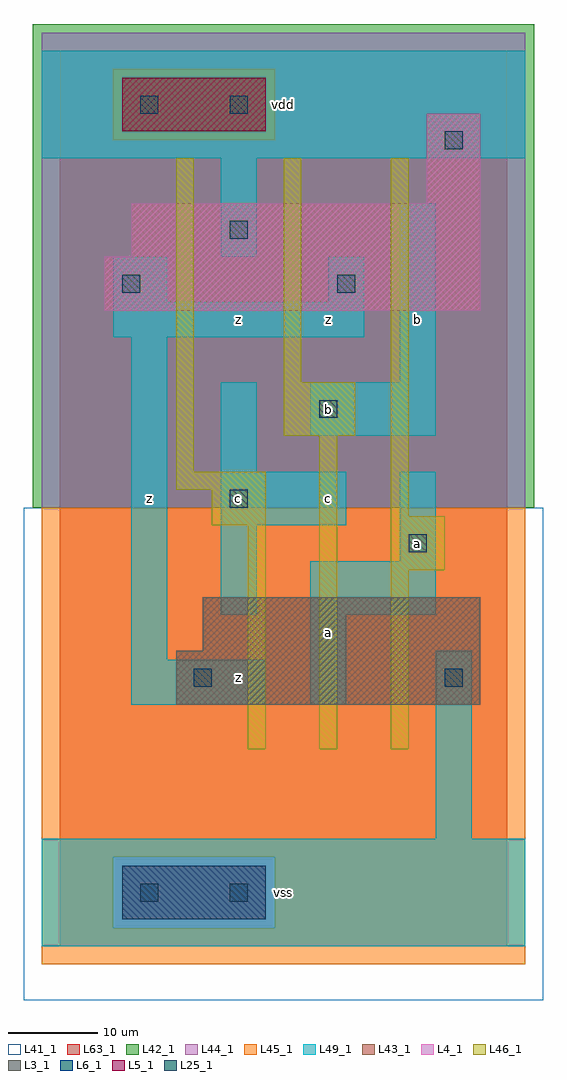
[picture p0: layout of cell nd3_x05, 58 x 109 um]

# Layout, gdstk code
import gdstk
lib = gdstk.Library(unit=1e-6, precision=1e-09)
def R(c, l, rs):  # rectangles x0, y0, x1, y1
    for r in rs: c.add(gdstk.rectangle(r[:2], r[2:], *l))
L3_1 = (3, 1)
L4_1 = (4, 1)
L5_1 = (5, 1)
L6_1 = (6, 1)
L25_1 = (25, 1)
L41_1 = (41, 1)
L42_1 = (42, 1)
L43_1 = (43, 1)
L44_1 = (44, 1)
L45_1 = (45, 1)
L46_1 = (46, 1)
L49_1 = (49, 1)
L63_1 = (63, 1)

nd3_x05 = lib.new_cell('nd3_x05')
R(nd3_x05, L3_1, [(13,27,47,33), (16,33,47,39)])
R(nd3_x05, L4_1, [(5,71,47,77), (8,77,47,83), (41,83,47,93)])
R(nd3_x05, L5_1, [(7,91,23,97)])
R(nd3_x05, L6_1, [(7,3,23,9)])
R(nd3_x05, L25_1, [(9,5,11,7), (19,5,21,7), (15,29,17,31), (43,29,45,31), (39,44,41,46), (19,49,21,51), (29,59,31,61), (7,73,9,75), (31,73,33,75), (19,79,21,81), (43,89,45,91), (9,93,11,95), (19,93,21,95)])
R(nd3_x05, L41_1, [(-4,-6,54,49), (-3,-3,53,49)])
R(nd3_x05, L42_1, [(-3,49,53,103)])
R(nd3_x05, L43_1, [(7,3,23,9), (13,27,47,33), (16,33,47,39), (5,71,47,77), (8,77,47,83), (41,83,47,93), (7,91,23,97)])
R(nd3_x05, L44_1, [(6,2,24,10), (-2,49,52,90), (-2,90,6,98), (24,90,52,98), (-2,98,52,102)])
R(nd3_x05, L45_1, [(-2,-2,52,2), (-2,2,6,10), (24,2,52,10), (-2,10,52,49), (6,90,24,98)])
R(nd3_x05, L46_1, [(21,22,23,47), (29,22,31,57), (37,22,39,42), (37,42,43,48), (17,47,23,51), (37,48,39,88), (13,51,23,53), (13,53,15,88), (25,57,33,63), (25,63,27,88)])
R(nd3_x05, L49_1, [(-2,0,52,12), (42,12,46,33), (8,27,23,32), (28,27,32,37), (8,32,12,68), (18,37,22,47), (28,37,42,43), (38,43,42,53), (18,47,32,53), (18,53,22,63), (28,57,42,63), (38,63,42,83), (6,68,34,72), (6,72,12,77), (30,72,34,77), (18,77,22,88), (-2,88,52,100)])
R(nd3_x05, L63_1, [(0,0,50,100)])
nd3_x05.add(gdstk.Label('z', (10,50), layer=49, texttype=1))
nd3_x05.add(gdstk.Label('z', (10,50), layer=49, texttype=1))
nd3_x05.add(gdstk.Label('vss', (25,6), layer=49, texttype=1))
nd3_x05.add(gdstk.Label('vss', (25,6), layer=49, texttype=1))
nd3_x05.add(gdstk.Label('z', (20,30), layer=49, texttype=1))
nd3_x05.add(gdstk.Label('z', (20,30), layer=49, texttype=1))
nd3_x05.add(gdstk.Label('c', (20,50), layer=49, texttype=1))
nd3_x05.add(gdstk.Label('c', (20,50), layer=49, texttype=1))
nd3_x05.add(gdstk.Label('z', (20,70), layer=49, texttype=1))
nd3_x05.add(gdstk.Label('z', (20,70), layer=49, texttype=1))
nd3_x05.add(gdstk.Label('vdd', (25,94), layer=49, texttype=1))
nd3_x05.add(gdstk.Label('vdd', (25,94), layer=49, texttype=1))
nd3_x05.add(gdstk.Label('a', (30,35), layer=49, texttype=1))
nd3_x05.add(gdstk.Label('a', (30,35), layer=49, texttype=1))
nd3_x05.add(gdstk.Label('c', (30,50), layer=49, texttype=1))
nd3_x05.add(gdstk.Label('c', (30,50), layer=49, texttype=1))
nd3_x05.add(gdstk.Label('b', (30,60), layer=49, texttype=1))
nd3_x05.add(gdstk.Label('b', (30,60), layer=49, texttype=1))
nd3_x05.add(gdstk.Label('z', (30,70), layer=49, texttype=1))
nd3_x05.add(gdstk.Label('z', (30,70), layer=49, texttype=1))
nd3_x05.add(gdstk.Label('a', (40,45), layer=49, texttype=1))
nd3_x05.add(gdstk.Label('a', (40,45), layer=49, texttype=1))
nd3_x05.add(gdstk.Label('b', (40,70), layer=49, texttype=1))
nd3_x05.add(gdstk.Label('b', (40,70), layer=49, texttype=1))

lib.write_gds('nd3_x05.gds')
